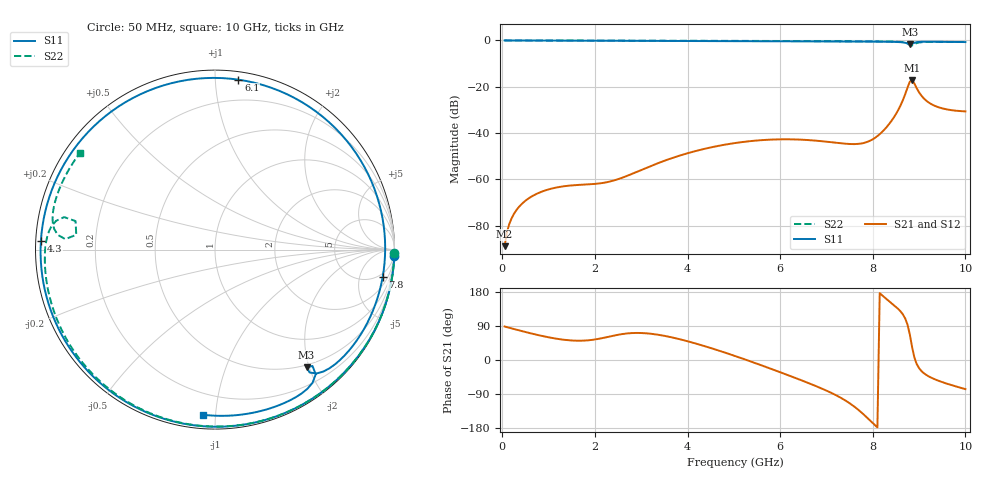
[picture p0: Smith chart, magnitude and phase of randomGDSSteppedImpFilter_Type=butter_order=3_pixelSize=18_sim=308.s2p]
! freq	dB(S11)	phase(S11)	dB(S12)	phase(S12)
!  dB(S21)	phase(S21)	dB(S22)	phase(S22)
!S-par simulation data
#  GHz  S  DB  R 50
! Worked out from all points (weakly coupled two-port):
!   200 points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, 50 MHz to 10 GHz, reference 50 ohm
!   highest |S21| = -17.18 dB at 8.85 GHz (marker M1); lowest = -88.9 dB at 50 MHz (marker M2)
!   lowest |S11| = -1.6 dB at 8.8 GHz (marker M3), VSWR 10.85, Z = 23.1 - j97.9 ohm
!   |S11| at or under -10 dB: nowhere
!   |S22| runs from -2.2 to 0.0 dB; largest |S21 - S12| = 0
!   S11 on the Smith chart (normalised r, x): 50 MHz: 0, -53; 4.3 GHz: 0.01, +0.03; 6.1 GHz: 0.05, +1.15; 7.8 GHz: 4, -11; 10 GHz: 0.07, -0.92
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0.05  -0.00 -2.2  -88.86 88.4  -88.86 88.4  -0.00 -1.2
0.15  -0.01 -6.4  -79.34 85.0  -79.34 85.0  -0.01 -3.6
0.4  -0.02 -17.0  -71.03 77.0  -71.03 77.0  -0.01 -9.5
0.7  -0.04 -29.7  -66.66 67.8  -66.66 67.8  -0.02 -16.6
1.75  -0.09 -73.4  -62.29 51.1  -62.29 51.1  -0.05 -40.9
2.55  -0.14 -106.5  -59.58 67.7  -59.58 67.7  -0.07 -58.7
3.4  -0.19 -142.3  -52.71 66.0  -52.71 66.0  -0.10 -77.1
4.3  -0.25 177.1  -47.13 39.1  -47.13 39.1  -0.13 -95.7
5.05  -0.32 139.8  -44.24 9.6  -44.24 9.6  -0.17 -110.9
5.6  -0.36 110.2  -43.06 -14.2  -43.06 -14.2  -0.20 -121.8
6.1  -0.39 82.1  -42.69 -36.8  -42.69 -36.8  -0.23 -131.7
6.7  -0.42 48.2  -43.16 -65.2  -43.16 -65.2  -0.28 -143.6
7.25  -0.44 18.3  -44.28 -95.7  -44.28 -95.7  -0.33 -154.7
7.8  -0.48 -9.4  -44.32 -143.3  -44.32 -143.3  -0.38 -166.3
8.05  -0.51 -21.1  -42.04 -172.2  -42.04 -172.2  -0.41 -171.8
8.35  -0.57 -34.7  -36.18 155.5  -36.18 155.5  -0.47 -179.0
8.6  -0.74 -46.1  -28.06 128.3  -28.06 128.3  -0.62 173.7
8.8  -1.61 -52.1  -17.80 67.3  -17.80 67.3  -2.01 168.4
8.85  -1.45 -50.0  -17.18 33.5  -17.18 33.5  -2.19 173.9
9.05  -0.58 -58.9  -23.85 -29.1  -23.85 -29.1  -0.77 170.8
9.25  -0.56 -67.5  -27.34 -45.9  -27.34 -45.9  -0.64 164.6
10  -0.70 -94.3  -30.64 -76.9  -30.64 -76.9  -0.68 144.5
